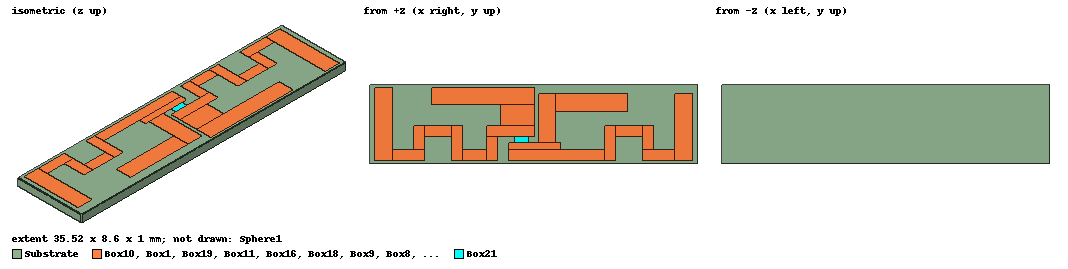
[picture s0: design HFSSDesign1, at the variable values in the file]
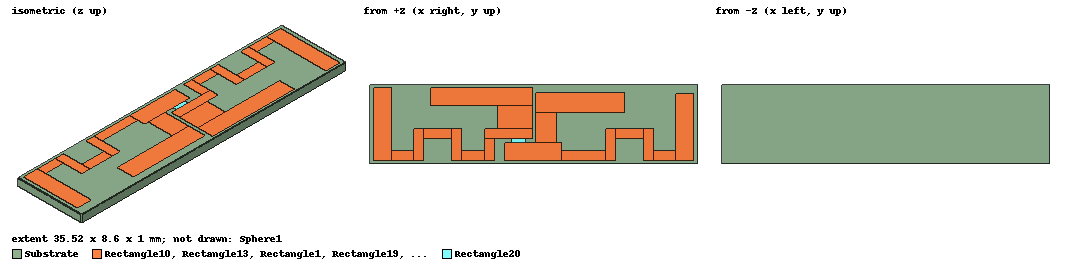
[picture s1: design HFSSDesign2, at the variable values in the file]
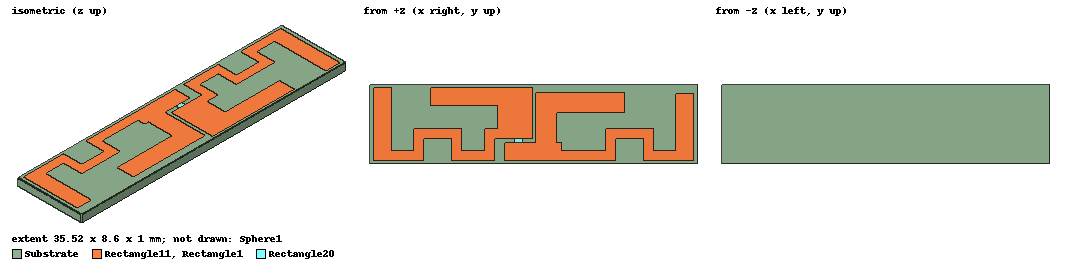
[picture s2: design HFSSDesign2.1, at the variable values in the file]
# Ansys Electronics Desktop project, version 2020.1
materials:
  vacuum: permittivity=1
  FR4_epoxy: permittivity=4.4 dielectric_loss_tangent=0.02
  copper: permeability=0.999991 conductivity=58000000

design HFSSDesign1 (HFSS, DrivenModal, model units mm)
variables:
  w_sub = 35.52mm
  l_sub = 8.6mm
  h_sub = 1mm
  copper_h = 0mm
  x_separation = 0.56mm
  y_separation = 0.3mm
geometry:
  Substrate [FR4_epoxy] = box(corner=(0, 0, -h_sub), size=(w_sub, l_sub, h_sub))
  Box1 [copper, solve inside] = box(corner=(x_separation, y_separation, 0), size=(1.9mm, 8mm, copper_h))
  Box2 [copper, solve inside] = box(corner=(x_separation+1.9mm, y_separation, 0), size=(3.5mm, 1.2mm, copper_h))
  Box3 [copper, solve inside] = box(corner=(x_separation+4.2mm, y_separation+1.2mm, 0), size=(1.2mm, 2.65mm, copper_h))
  Box4 [copper, solve inside] = box(corner=(x_separation+5.4mm, y_separation+2.65mm, 0), size=(2.9mm, 1.2mm, copper_h))
  Box5 [copper, solve inside] = box(corner=(x_separation+8.3mm, y_separation, 0), size=(1.2mm, 3.85mm, copper_h))
  Box6 [copper, solve inside] = box(corner=(x_separation+9.5mm, y_separation, 0), size=(2.65mm, 1.2mm, copper_h))
  Box7 [copper, solve inside] = box(corner=(x_separation+12.15mm, y_separation, 0), size=(1.2mm, 2.65mm, copper_h))
  Box8 [copper, solve inside] = box(corner=(x_separation+12.15mm, y_separation+2.65mm, 0), size=(5.15mm, 1.2mm, copper_h))
  Box9 [copper, solve inside] = box(corner=(x_separation+13.65mm, y_separation+3.85mm, 0), size=(3.65mm, 2.25mm, copper_h))
  Box10 [copper, solve inside] = box(corner=(x_separation+6.2mm, y_separation+6.1mm, 0), size=(11.1mm, 1.9mm, copper_h))
  Box11 [copper, solve inside] = box(corner=(x_separation, y_separation, 0), size=(1.9mm, 7.25mm, copper_h))
  Box12 [copper, solve inside] = box(corner=(x_separation+1.9mm, y_separation, 0), size=(3.5mm, 1.2mm, copper_h))
  Box13 [copper, solve inside] = box(corner=(x_separation+4.2mm, y_separation+1.2mm, 0), size=(1.2mm, 2.65mm, copper_h))
  Box14 [copper, solve inside] = box(corner=(x_separation+5.4mm, y_separation+2.65mm, 0), size=(2.9mm, 1.2mm, copper_h))
  Box15 [copper, solve inside] = box(corner=(x_separation+8.3mm, y_separation, 0), size=(1.2mm, 3.85mm, copper_h))
  [Box11..Box15].mirror(point=(17.76mm, 0mm, 0mm), normal=(1mm, 0mm, 0mm))
  Box16 [copper, solve inside] = box(corner=(x_separation+14.5mm, y_separation, 0), size=(10.4mm, 1.2mm, copper_h))
  Box17 [copper, solve inside] = box(corner=(x_separation+14.5mm, y_separation+1.2mm, 0), size=(5.6mm, 0.8mm, copper_h))
  Box18 [copper, solve inside] = box(corner=(x_separation+17.7mm, y_separation+2mm, 0), size=(1.9mm, 5.25mm, copper_h))
  Box19 [copper, solve inside] = box(corner=(x_separation+19.6mm, y_separation+5.35mm, 0), size=(7.75mm, 1.9mm, copper_h))
  Sphere1 [vacuum] = sphere(centre=(17.86mm, 4.15mm, 0.03556mm), radius=44.072705mm)
  Box21 [copper] = box(corner=(x_separation+14.5mm+0.65mm, y_separation+2mm, 0mm), size=(1.5mm, 0.65mm, copper_h))
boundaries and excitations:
  Rad1: Radiation Objects=Sphere1
  PerfE1: Perfect E Objects=[Box1..Box19]
  p1: Lumped Port Objects=Box21 Modes{Mode1{IntLine{middle of Box21.edge(2 of 4) -> middle of Box21.edge(4 of 4)} CharImp=Zpi RenormImp=50ohm}} Impedance=50ohm
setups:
  Setup1: HfssDriven Frequency=2.4GHz MaxDeltaS=0.02 MaximumPasses=20 MinimumPasses=1 MinimumConvergedPasses=1 PercentRefinement=30 BasisOrder=1 PortAccuracy=2
    sweep Sweep: 2GHz to 3GHz, 21 points; Type=Discrete SaveFields
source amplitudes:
  p1:1: 1W 0deg
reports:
  S Parameter Plot 1: dB(S(p1,p1)) vs Freq on Setup1 : Sweep

design HFSSDesign2 (HFSS, DrivenModal, model units mm)
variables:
  w_sub = 35.52mm
  l_sub = 8.6mm
  h_sub = 1mm
  copper_h = 0mm
  x_separation = 0.46mm
  y_separation = 0.3mm
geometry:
  Substrate [FR4_epoxy] = box(corner=(0, 0, -h_sub), size=(w_sub, l_sub, h_sub))
  Sphere1 [vacuum] = sphere(centre=(17.86mm, 4.15mm, 0.03556mm), radius=44.072705mm)
  Rectangle1 = rectangle(corner=(x_separation, y_separation, 0mm), x_size=1.9mm, y_size=8mm)
  Rectangle2 = rectangle(corner=(x_separation+1.9mm, y_separation, 0mm), x_size=2.4mm, y_size=1.1mm)
  Rectangle3 = rectangle(corner=(x_separation+4.3mm, y_separation, 0mm), x_size=1.1mm, y_size=3.55mm)
  Rectangle4 = rectangle(corner=(x_separation+5.4mm, y_separation+2.45mm, 0mm), x_size=3mm, y_size=1.1mm)
  Rectangle5 = rectangle(corner=(x_separation+8.4mm, y_separation, 0mm), x_size=1.1mm, y_size=3.55mm)
  Rectangle6 = rectangle(corner=(x_separation+9.5mm, y_separation, 0mm), x_size=2.45mm, y_size=1.1mm)
  Rectangle7 = rectangle(corner=(x_separation+11.95mm, y_separation, 0mm), x_size=1.1mm, y_size=2.45mm)
  Rectangle8 = rectangle(corner=(x_separation+11.95mm, y_separation+2.45mm, 0mm), x_size=5.2mm, y_size=1.1mm)
  Rectangle9 = rectangle(corner=(x_separation+13.45mm, y_separation+3.55mm, 0mm), x_size=3.7mm, y_size=2.45mm)
  Rectangle10 = rectangle(corner=(x_separation+6.15mm, y_separation+6mm, 0mm), x_size=11mm, y_size=2mm)
  Rectangle11 = rectangle(corner=(x_separation+14.2mm, y_separation, 0mm), x_size=6.1mm, y_size=2mm)
  Rectangle12 = rectangle(corner=(x_separation+17.55mm, y_separation+2mm, 0mm), x_size=2.25mm, y_size=3.2mm)
  Rectangle13 = rectangle(corner=(x_separation+17.55mm, y_separation+5.2mm, 0mm), x_size=9.65mm, y_size=2.2mm)
  Rectangle14 = rectangle(corner=(x_separation+20.3mm, y_separation, 0mm), x_size=4.8mm, y_size=1.1mm)
  Rectangle15 = rectangle(corner=(x_separation+25.1mm, y_separation, 0mm), x_size=1.1mm, y_size=3.55mm)
  Rectangle16 = rectangle(corner=(x_separation+26.2mm, y_separation+2.45mm, 0mm), x_size=3mm, y_size=1.1mm)
  Rectangle17 = rectangle(corner=(x_separation+29.2mm, y_separation, 0mm), x_size=1.1mm, y_size=3.55mm)
  Rectangle18 = rectangle(corner=(x_separation+30.3mm, y_separation, 0mm), x_size=2.4mm, y_size=1.1mm)
  Rectangle19 = rectangle(corner=(x_separation+32.7mm, y_separation, 0mm), x_size=1.9mm, y_size=7.25mm)
  Rectangle20 = rectangle(corner=((17.61-2.275) mm, 2.3mm, 0mm), x_size=1.6mm, y_size=0.45mm)
  [Substrate, Rectangle1..Rectangle20, Sphere1].move(-17.76mm, -4.3mm, 0mm)
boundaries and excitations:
  Rad1: Radiation Objects=Sphere1
  PerfE1: Perfect E Objects=[Rectangle1..Rectangle19]
  1: Lumped Port Objects=Rectangle20 Modes{Mode1{IntLine{middle of Rectangle20.edge(y opposite corner) -> middle of Rectangle20.edge(y at corner)} CharImp=Zpi RenormImp=50ohm}} Impedance=50ohm
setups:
  Setup1: HfssDriven Frequency=2.4GHz MaxDeltaS=0.02 MaximumPasses=20 MinimumPasses=1 MinimumConvergedPasses=1 PercentRefinement=30 BasisOrder=1 PortAccuracy=2 ConstantDelta=0s
    sweep Sweep: 2GHz to 3GHz, 21 points; Type=Discrete SaveFields
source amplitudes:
  1:1: 1W 0deg
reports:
  S Parameter Plot 1: dB(S(1,1)) vs Freq on Setup1 : Sweep

design HFSSDesign2.1 (HFSS, DrivenModal, model units mm)
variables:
  w_sub = 35.52mm
  l_sub = 8.6mm
  h_sub = 1mm
  copper_h = 0mm
  x_separation = 0.46mm
  y_separation = 0.3mm
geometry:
  Substrate [FR4_epoxy] = box(corner=(0, 0, -h_sub), size=(w_sub, l_sub, h_sub))
  Sphere1 [vacuum] = sphere(centre=(17.86mm, 4.15mm, 0.03556mm), radius=44.072705mm)
  Rectangle1 = rectangle(corner=(x_separation, y_separation, 0mm), x_size=1.9mm, y_size=8mm)
  Rectangle2 = rectangle(corner=(x_separation+1.9mm, y_separation, 0mm), x_size=2.4mm, y_size=1.1mm)
  Rectangle3 = rectangle(corner=(x_separation+4.3mm, y_separation, 0mm), x_size=1.1mm, y_size=3.55mm)
  Rectangle4 = rectangle(corner=(x_separation+5.4mm, y_separation+2.45mm, 0mm), x_size=3mm, y_size=1.1mm)
  Rectangle5 = rectangle(corner=(x_separation+8.4mm, y_separation, 0mm), x_size=1.1mm, y_size=3.55mm)
  Rectangle6 = rectangle(corner=(x_separation+9.5mm, y_separation, 0mm), x_size=2.45mm, y_size=1.1mm)
  Rectangle7 = rectangle(corner=(x_separation+11.95mm, y_separation, 0mm), x_size=1.1mm, y_size=2.45mm)
  Rectangle8 = rectangle(corner=(x_separation+11.95mm, y_separation+2.45mm, 0mm), x_size=5.2mm, y_size=1.1mm)
  Rectangle9 = rectangle(corner=(x_separation+13.45mm, y_separation+3.55mm, 0mm), x_size=3.7mm, y_size=2.45mm)
  Rectangle10 = rectangle(corner=(x_separation+6.15mm, y_separation+6mm, 0mm), x_size=11mm, y_size=2mm)
  Rectangle11 = rectangle(corner=(x_separation+14.2mm, y_separation, 0mm), x_size=6.1mm, y_size=2mm)
  Rectangle12 = rectangle(corner=(x_separation+17.55mm, y_separation+2mm, 0mm), x_size=2.25mm, y_size=3.2mm)
  Rectangle13 = rectangle(corner=(x_separation+17.55mm, y_separation+5.2mm, 0mm), x_size=9.65mm, y_size=2.2mm)
  Rectangle14 = rectangle(corner=(x_separation+20.3mm, y_separation, 0mm), x_size=4.8mm, y_size=1.1mm)
  Rectangle15 = rectangle(corner=(x_separation+25.1mm, y_separation, 0mm), x_size=1.1mm, y_size=3.55mm)
  Rectangle16 = rectangle(corner=(x_separation+26.2mm, y_separation+2.45mm, 0mm), x_size=3mm, y_size=1.1mm)
  Rectangle17 = rectangle(corner=(x_separation+29.2mm, y_separation, 0mm), x_size=1.1mm, y_size=3.55mm)
  Rectangle18 = rectangle(corner=(x_separation+30.3mm, y_separation, 0mm), x_size=2.4mm, y_size=1.1mm)
  Rectangle19 = rectangle(corner=(x_separation+32.7mm, y_separation, 0mm), x_size=1.9mm, y_size=7.25mm)
  Rectangle20 = rectangle(corner=((17.61-1.875) mm, 2.3mm, 0mm), x_size=0.8mm, y_size=0.45mm)
  [Substrate, Rectangle1..Rectangle20, Sphere1].move(-17.76mm, -4.3mm, 0mm)
  Rectangle1.unite(Rectangle2..Rectangle10)
  Rectangle11.unite(Rectangle12..Rectangle19)
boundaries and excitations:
  Rad1: Radiation Objects=Sphere1
  PerfE1: Perfect E Objects=[Rectangle1, Rectangle11]
  1: Lumped Port Objects=Rectangle20 Modes{Mode1{IntLine{middle of Rectangle20.edge(y opposite corner) -> middle of Rectangle20.edge(y at corner)} CharImp=Zpi RenormImp=50ohm}} Impedance=50ohm
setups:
  Setup1: HfssDriven Frequency=2.4GHz MaxDeltaS=0.02 MaximumPasses=20 MinimumPasses=1 MinimumConvergedPasses=1 PercentRefinement=30 BasisOrder=1 PortAccuracy=2
    sweep Sweep: 1.5GHz to 6.5GHz, 500 points; Type=Discrete SaveFields
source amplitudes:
  1:1: 1W 0deg
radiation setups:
  Infinite Sphere1: Infinite Sphere Theta=0deg..180deg step 2deg Phi=-180deg..180deg step 2deg
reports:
  S Parameter Plot 1: dB(S(1,1)) vs Freq on Setup1 : Sweep; markers MY1 at y=-10
  Gain Plot 1: dB(GainTotal) vs Phi, Theta on Setup1 : LastAdaptive, Infinite Sphere1 [Freq=2.4GHz]
